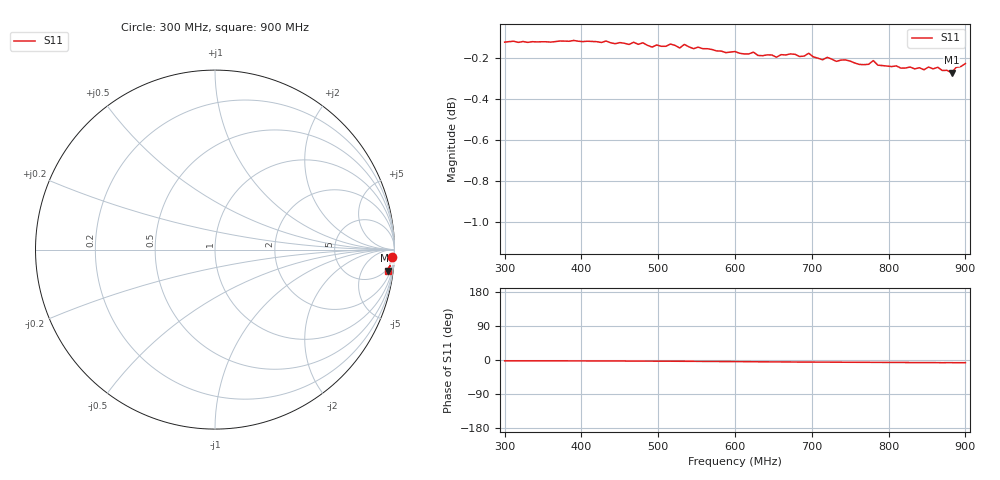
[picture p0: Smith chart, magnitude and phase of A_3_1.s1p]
# HZ S RI R 50
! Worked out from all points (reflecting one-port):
!   101 points, 300 MHz to 900 MHz, reference 50 ohm
!   lowest |S11| = -0.3 dB at 882 MHz (marker M1), VSWR 63.59, Z = 199 - j769 ohm
!   phase of S11 starts at -2 deg and turns -5 deg over the sweep
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3e8  0.985 -0.0386
3.78e8  0.9855 -0.0401
4.02e8  0.9852 -0.0405
4.5e8  0.9844 -0.046
4.8e8  0.9842 -0.0492
4.92e8  0.9817 -0.0516
5.16e8  0.9832 -0.0548
5.28e8  0.9809 -0.0573
5.34e8  0.9827 -0.0589
5.46e8  0.9802 -0.0611
6e8  0.9779 -0.0721
6.48e8  0.9749 -0.0854
6.54e8  0.9738 -0.0847
6.78e8  0.9748 -0.091
6.84e8  0.9735 -0.0923
6.96e8  0.9753 -0.0918
7.08e8  0.9722 -0.0955
7.14e8  0.9714 -0.0949
7.2e8  0.9727 -0.0959
7.5e8  0.97 -0.1016
7.8e8  0.9697 -0.1071
8.28e8  0.9656 -0.1125
8.46e8  0.9637 -0.1157
8.64e8  0.9648 -0.1182
8.7e8  0.9629 -0.1192
8.82e8  0.9619 -0.1178
8.94e8  0.9648 -0.1209
9e8  0.9666 -0.1197
